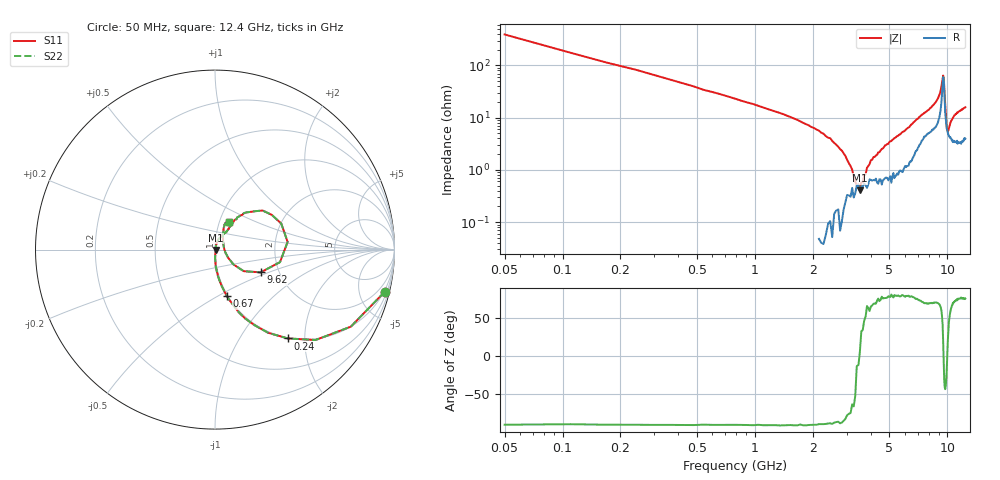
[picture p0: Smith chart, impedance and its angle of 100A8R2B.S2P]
!  American Technical Ceramics  Date:  3/13/98
!  One Norden Lane
!  Huntington Station,  NY.  11746-2102
!  Tel:  (516) 547-5700  Fax:  (516) 547-5748
!  Part Number  100A8R2B
!  Description: Porcelain, High Q, Low ESR
!  Application: Bypass, Coupling, Timing, Feedback
!  Tuning, Impedance Match, Blocking
# GHZ S DB R 50
! Freq  |S11|  S11 Ph  |S21|  S21 Ph  |S12|  S12 Ph  |S22|  S22 Ph
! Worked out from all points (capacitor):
!   201 points, 50 MHz to 12.4 GHz, reference 50 ohm
!   read as one part in series: C = 8.26 pF near 110 MHz
!   lowest |Z| = 408 mohm at 3.51 GHz (marker M1)
!   series resonance near 3.493 GHz, so ESL is about 250 pH
!   S11 on the Smith chart (normalised r, x): 50 MHz: 0.88, -8.04; 240 MHz: 0.99, -1.65; 670 MHz: 0.99, -0.55; 9.62 GHz: 1.61, -0.44; 12.4 GHz: 1.11, +0.36
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0.05  -0.23 -14.0  -12.08 76.3  -12.08 76.3  -0.23 -14.0
0.11  -1.21 -29.6  -6.07 60.0  -6.07 60.0  -1.21 -29.6
0.24  -3.89 -50.7  -2.26 39.7  -2.26 39.7  -3.89 -50.7
0.42  -7.57 -66.4  -0.80 24.5  -0.80 24.5  -7.57 -66.4
0.67  -11.43 -75.8  -0.34 15.5  -0.34 15.5  -11.43 -75.8
2.15  -24.78 -88.8  -0.04 3.2  -0.04 3.2  -24.78 -88.8
2.83  -32.59 -85.7  -0.01 1.3  -0.01 1.3  -32.59 -85.7
3.51  -45.74 -26.1  -0.03 -0.2  -0.03 -0.2  -45.74 -26.1
3.69  -45.39 18.5  -0.05 -0.5  -0.05 -0.5  -45.39 18.5
4.19  -38.32 60.6  -0.06 -1.3  -0.06 -1.3  -38.32 60.6
6.23  -26.27 73.8  -0.13 -4.4  -0.13 -4.4  -26.27 73.8
8.32  -15.64 56.8  -0.44 -8.0  -0.44 -8.0  -15.64 56.8
9.07  -11.70 51.6  -0.78 -12.1  -0.78 -12.1  -11.70 51.6
9.31  -9.29 39.4  -1.55 -15.8  -1.55 -15.8  -9.29 39.4
9.5  -7.81 6.0  -3.97 -11.2  -3.97 -11.2  -7.81 6.0
9.62  -10.92 -26.5  -3.09 7.6  -3.09 7.6  -10.92 -26.5
9.74  -17.54 -38.8  -1.30 7.1  -1.30 7.1  -17.54 -38.8
9.87  -24.50 -15.2  -0.77 3.6  -0.77 3.6  -24.50 -15.2
9.93  -25.89 11.4  -0.58 2.4  -0.58 2.4  -25.89 11.4
10.36  -19.90 63.3  -0.38 -2.0  -0.38 -2.0  -19.90 63.3
11.04  -16.85 68.7  -0.29 -4.4  -0.29 -4.4  -16.85 68.7
12.4  -15.19 63.9  -0.28 -7.2  -0.28 -7.2  -15.19 63.9
